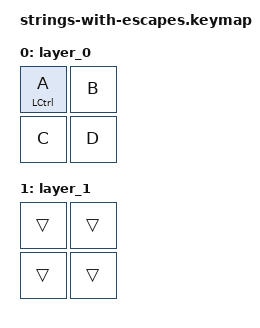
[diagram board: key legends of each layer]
/*
 * Hard .keymap corpus: label = "a \" b" so an escaped quote does not end the string.
 * Covers R2-7 (maskDts treats \\ as masking the next character).
 */

#include <behaviors.dtsi>
#include <dt-bindings/zmk/keys.h>

/ {
    behaviors {
        hm: homerow_mods {
            compatible = "zmk,behavior-hold-tap";
            label = "a \" b";
            tapping-term-ms = <280>;
            bindings = <&kp>, <&kp>;
            #binding-cells = <2>;
        };
    };

    keymap {
        compatible = "zmk,keymap";

        layer_0 {
            bindings = <
&hm LCTRL A &kp B
&kp C &kp D
            >;
        };

        layer_1 {
            bindings = <
&trans &trans
&trans &trans
            >;
        };
    };
};
